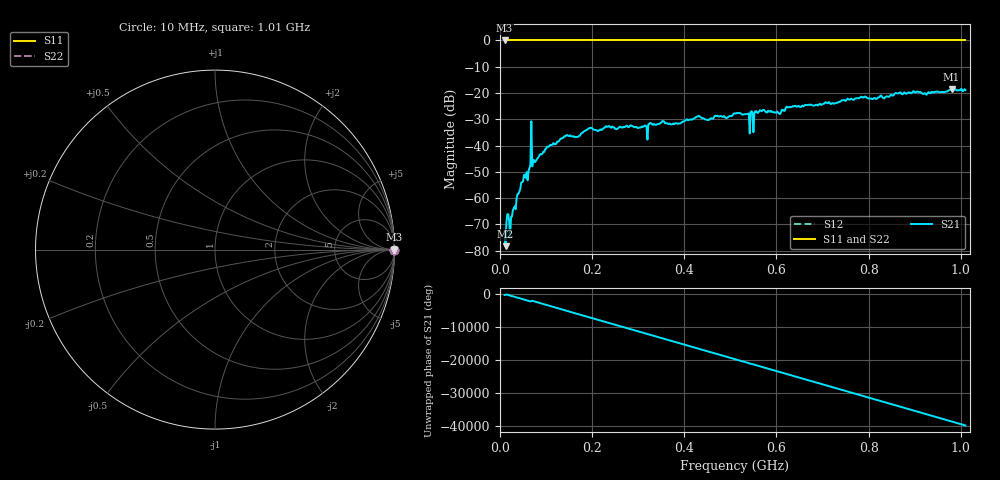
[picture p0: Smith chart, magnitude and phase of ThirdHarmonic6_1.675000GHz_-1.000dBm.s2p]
! 8/16/2025 8:05:45 PM
! C:\ANRITSUVNA\TEMP\TEMP.S2P
! CHANNEL.1
! TR.MEASUREMENT
! RAW.DATA
! RF.CORRECTION.OFF
! AVERAGING.OFF
! IF.BANDWIDTH: 5KHZ
! SWEEPTYPE:  FREQ.SWEEP(Linear)
! Reference Plane Port Info
! PORT:  PORT1  PORT2
! DISTANCE:  0  m  0  m
! TIME:  0  s  0  s
! PHASE.OFFSET:  0  deg.  0  deg.
! LOSS:  0  dB  0  dB
! REF.LOSS:  0  dB  0  dB
! REF.FREQ:  0  Hz  0  Hz
! Power Info
! POWER:  -20  dBm  -20  dBm
! EFF.POWER:  -20  dBm  -20  dBm
! SOURCE.ATTEN:  0  dB  0  dB
! TEST.ATTEN:  0  dB  0  dB
# GHZ S RI R 50.0
! FREQ.GHZ  S11RE  S11IM  S21RE  S21IM  S12RE  S12IM  S22RE  S22IM
!; PortSelection: Port_12
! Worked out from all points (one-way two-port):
!   501 points, 10 MHz to 1.01 GHz, reference 50 ohm
!   highest |S21| = -18.47 dB at 980 MHz (marker M1); lowest = -78.3 dB at 12 MHz (marker M2)
!   lowest |S11| = 0.0 dB at 10 MHz (marker M3)
!   |S11| at or under -10 dB: nowhere
!   |S22| runs from 0.0 to 0.0 dB; largest |S21 - S12| = 1.1
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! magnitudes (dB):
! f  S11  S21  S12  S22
! 10 MHz  0.0  -72.4  0.0  0.0
! 12 MHz  0.0  -78.3  0.0  0.0
! 24 MHz  0.0  -67.2  0.0  0.0
! 50 MHz  0.0  -53.7  0.0  0.0
! 62 MHz  0.0  -49.6  0.0  0.0
! 64 MHz  0.0  -48.6  0.0  0.0
! 70 MHz  0.0  -47.9  0.0  0.0
! 72 MHz  0.0  -45.4  0.0  0.0
! 74 MHz  0.0  -45.6  0.0  0.0
! 142 MHz  0.0  -36.4  0.0  0.0
! 178 MHz  0.0  -35.2  0.0  0.0
! 196 MHz  0.0  -33.3  0.0  0.0
! 344 MHz  0.0  -31.8  0.0  0.0
! 510 MHz  0.0  -27.8  0.0  0.0
! 536 MHz  0.0  -28.0  0.0  0.0
! 546 MHz  0.0  -26.9  0.0  0.0
! 568 MHz  0.0  -26.9  0.0  0.0
! 606 MHz  0.0  -27.8  0.0  0.0
! 678 MHz  0.0  -24.7  0.0  0.0
! 844 MHz  0.0  -21.5  0.0  0.0
! 980 MHz  0.0  -18.5  0.0  0.0
! 1.01 GHz  0.0  -18.9  0.0  0.0
